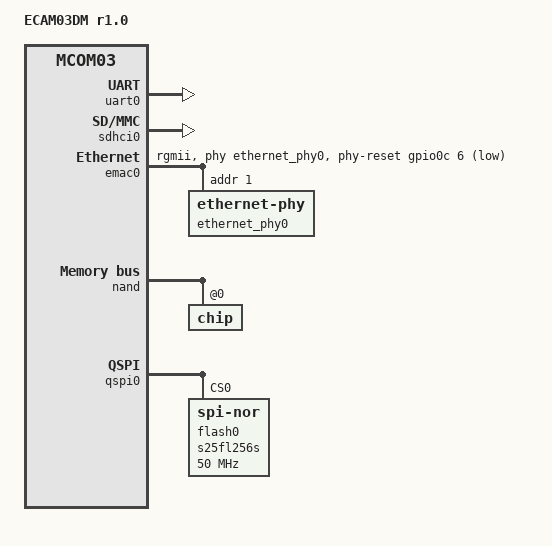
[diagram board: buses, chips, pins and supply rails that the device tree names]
// SPDX-License-Identifier: GPL-2.0+
/*
 * Copyright 2021-2023 RnD Center "ELVEES", JSC
 */

/dts-v1/;

#include <dt-bindings/gpio/gpio.h>

#include "mcom03.dtsi"

/ {
	model = "ECAM03DM r1.0";
	compatible = "elvees,ecam03dm-r1.0",
		     "elvees,ecam03dm",
		     "elvees,mcom03";

	chosen {
		stdout-path = "serial0:115200n8";
	};

	/delete-node/ sdr@1900000;
};

&uart0 {
	status = "okay";
	clock-frequency = <27920454>;
};

&sdhci0 {
	status = "okay";

	/* Disable High Speed support
	 * Disable 1.8V support
	 * Disable SDR50, SDR104 and DDR50 support
	 */
	sdhci-caps-mask = <0x7 0x4200000>;
	sdhci-caps = <0x0 0x0>;
};

&emac0 {
	status = "okay";
	phy-mode = "rgmii";
	phy-handle = <&ethernet_phy0>;
	phy-reset-gpios = <&gpio0c 6 GPIO_ACTIVE_LOW>;
	elvees,pads-1v8-en;

	ethernet_phy0: ethernet-phy@1 {
		reg = <0x1>;
		/* This is max GTX_CLK skew (0b11111 * 60ps/step)
		 * for KSZ9031 Ethernet PHY
		 */
		txc-skew-ps = <1860>;
	};
};

&nand {
	status = "okay";
	chip@0 {
		reg = <0>;
		nand-ecc-mode="hw";
	};
};

&qspi0 {
	status = "okay";

	flash0: s25fl256s@0 {
		#address-cells = <1>;
		#size-cells = <1>;
		compatible = "jedec,spi-nor", "spi-flash";
		reg = <0x0>;
		/* This is the highest frequency at which all commands are
		 * supported by the flash device.
		 */
		spi-max-frequency = <50000000>;

		spi-tx-bus-width = <4>;
		spi-rx-bus-width = <4>;
	};
};
